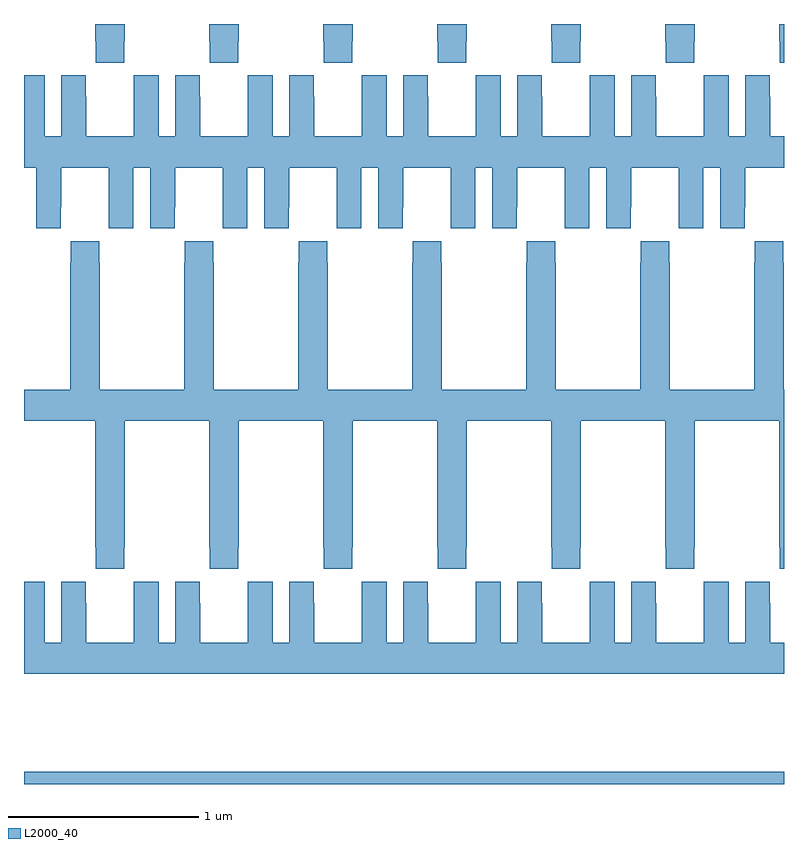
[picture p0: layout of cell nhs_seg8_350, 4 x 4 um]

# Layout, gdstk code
import gdstk
lib = gdstk.Library(unit=1e-6, precision=1e-09)
def R(c, l, rs):  # rectangles x0, y0, x1, y1
    for r in rs: c.add(gdstk.rectangle(r[:2], r[2:], *l))
def P(c, l, *ps):  # polygons
    for p in ps: c.add(gdstk.Polygon(p, *l))
L2000_40 = (2000, 40)

nhs_seg8_350 = lib.new_cell('nhs_seg8_350')
R(nhs_seg8_350, L2000_40, [(133,1135.9,137,1135.964)])
P(nhs_seg8_350, L2000_40, [(137,1139.9),(136.975,1139.9),(136.975,1139.809),(136.977,1139.809),(136.977,1139.697),(137,1139.697)],
  [(136.375,1139.809),(136.377,1139.809),(136.377,1139.697),(136.527,1139.697),(136.527,1139.809),(136.53,1139.809),(136.53,1139.9),(136.375,1139.9)],
  [(135.927,1139.809),(135.93,1139.809),(135.93,1139.9),(135.775,1139.9),(135.775,1139.809),(135.777,1139.809),(135.777,1139.697),(135.927,1139.697)],
  [(135.327,1139.809),(135.33,1139.809),(135.33,1139.9),(135.175,1139.9),(135.175,1139.809),(135.177,1139.809),(135.177,1139.697),(135.327,1139.697)],
  [(134.727,1139.809),(134.73,1139.809),(134.73,1139.9),(134.575,1139.9),(134.575,1139.809),(134.577,1139.809),(134.577,1139.697),(134.727,1139.697)],
  [(134.127,1139.809),(134.13,1139.809),(134.13,1139.9),(133.975,1139.9),(133.975,1139.809),(133.977,1139.809),(133.977,1139.697),(134.127,1139.697)],
  [(133.527,1139.809),(133.53,1139.809),(133.53,1139.9),(133.375,1139.9),(133.375,1139.809),(133.377,1139.809),(133.377,1139.697),(133.527,1139.697)],
  [(133.327,1139.516),(133.326,1139.516),(133.326,1139.629),(133.196,1139.629),(133.196,1139.308),(133.108,1139.308),(133.108,1139.629),(133,1139.629),(133,1139.144),(133.064,1139.144),(133.064,1138.824),(133.194,1138.824),(133.194,1138.936),(133.195,1138.936),(133.195,1139.144),(133.445,1139.144),(133.445,1138.936),(133.446,1138.936),(133.446,1138.824),(133.576,1138.824),(133.576,1139.144),(133.664,1139.144),(133.664,1138.824),(133.794,1138.824),(133.794,1138.936),(133.795,1138.936),(133.795,1139.144),(134.045,1139.144),(134.045,1138.936),(134.046,1138.936),(134.046,1138.824),(134.176,1138.824),(134.176,1139.144),(134.264,1139.144),(134.264,1138.824),(134.394,1138.824),(134.394,1138.936),(134.395,1138.936),(134.395,1139.144),(134.645,1139.144),(134.645,1138.936),(134.646,1138.936),(134.646,1138.824),(134.776,1138.824),(134.776,1139.144),(134.864,1139.144),(134.864,1138.824),(134.994,1138.824),(134.994,1138.936),(134.995,1138.936),(134.995,1139.144),(135.245,1139.144),(135.245,1138.936),(135.246,1138.936),(135.246,1138.824),(135.376,1138.824),(135.376,1139.144),(135.464,1139.144),(135.464,1138.824),(135.594,1138.824),(135.594,1138.936),(135.595,1138.936),(135.595,1139.144),(135.845,1139.144),(135.845,1138.936),(135.846,1138.936),(135.846,1138.824),(135.976,1138.824),(135.976,1139.144),(136.064,1139.144),(136.064,1138.824),(136.194,1138.824),(136.194,1138.936),(136.195,1138.936),(136.195,1139.144),(136.445,1139.144),(136.445,1138.936),(136.446,1138.936),(136.446,1138.824),(136.576,1138.824),(136.576,1139.144),(136.664,1139.144),(136.664,1138.824),(136.794,1138.824),(136.794,1138.936),(136.795,1138.936),(136.795,1139.144),(137,1139.144),(137,1139.308),(136.927,1139.308),(136.927,1139.516),(136.926,1139.516),(136.926,1139.629),(136.796,1139.629),(136.796,1139.308),(136.708,1139.308),(136.708,1139.629),(136.578,1139.629),(136.578,1139.516),(136.577,1139.516),(136.577,1139.308),(136.327,1139.308),(136.327,1139.516),(136.326,1139.516),(136.326,1139.629),(136.196,1139.629),(136.196,1139.308),(136.108,1139.308),(136.108,1139.629),(135.978,1139.629),(135.978,1139.516),(135.977,1139.516),(135.977,1139.308),(135.727,1139.308),(135.727,1139.516),(135.726,1139.516),(135.726,1139.629),(135.596,1139.629),(135.596,1139.308),(135.508,1139.308),(135.508,1139.629),(135.378,1139.629),(135.378,1139.516),(135.377,1139.516),(135.377,1139.308),(135.127,1139.308),(135.127,1139.516),(135.126,1139.516),(135.126,1139.629),(134.996,1139.629),(134.996,1139.308),(134.908,1139.308),(134.908,1139.629),(134.778,1139.629),(134.778,1139.516),(134.777,1139.516),(134.777,1139.308),(134.527,1139.308),(134.527,1139.516),(134.526,1139.516),(134.526,1139.629),(134.396,1139.629),(134.396,1139.308),(134.308,1139.308),(134.308,1139.629),(134.178,1139.629),(134.178,1139.516),(134.177,1139.516),(134.177,1139.308),(133.927,1139.308),(133.927,1139.516),(133.926,1139.516),(133.926,1139.629),(133.796,1139.629),(133.796,1139.308),(133.708,1139.308),(133.708,1139.629),(133.578,1139.629),(133.578,1139.516),(133.577,1139.516),(133.577,1139.308),(133.327,1139.308)],
  [(134.727,1137.145),(134.73,1137.145),(134.73,1137.812),(135.175,1137.812),(135.175,1137.145),(135.177,1137.145),(135.177,1137.033),(135.327,1137.033),(135.327,1137.145),(135.33,1137.145),(135.33,1137.812),(135.775,1137.812),(135.775,1137.145),(135.777,1137.145),(135.777,1137.033),(135.927,1137.033),(135.927,1137.145),(135.93,1137.145),(135.93,1137.812),(136.375,1137.812),(136.375,1137.145),(136.377,1137.145),(136.377,1137.033),(136.527,1137.033),(136.527,1137.145),(136.53,1137.145),(136.53,1137.812),(136.975,1137.812),(136.975,1137.145),(136.977,1137.145),(136.977,1137.033),(137,1137.033),(137,1137.976),(136.998,1137.976),(136.998,1138.643),(136.995,1138.643),(136.995,1138.756),(136.845,1138.756),(136.845,1138.643),(136.843,1138.643),(136.843,1137.976),(136.398,1137.976),(136.398,1138.643),(136.395,1138.643),(136.395,1138.756),(136.245,1138.756),(136.245,1138.643),(136.243,1138.643),(136.243,1137.976),(135.798,1137.976),(135.798,1138.643),(135.795,1138.643),(135.795,1138.756),(135.645,1138.756),(135.645,1138.643),(135.643,1138.643),(135.643,1137.976),(135.198,1137.976),(135.198,1138.643),(135.195,1138.643),(135.195,1138.756),(135.045,1138.756),(135.045,1138.643),(135.043,1138.643),(135.043,1137.976),(134.598,1137.976),(134.598,1138.643),(134.595,1138.643),(134.595,1138.756),(134.445,1138.756),(134.445,1138.643),(134.443,1138.643),(134.443,1137.976),(133.998,1137.976),(133.998,1138.643),(133.995,1138.643),(133.995,1138.756),(133.845,1138.756),(133.845,1138.643),(133.843,1138.643),(133.843,1137.976),(133.398,1137.976),(133.398,1138.643),(133.395,1138.643),(133.395,1138.756),(133.245,1138.756),(133.245,1138.643),(133.243,1138.643),(133.243,1137.976),(133,1137.976),(133,1137.812),(133.375,1137.812),(133.375,1137.145),(133.377,1137.145),(133.377,1137.033),(133.527,1137.033),(133.527,1137.145),(133.53,1137.145),(133.53,1137.812),(133.975,1137.812),(133.975,1137.145),(133.977,1137.145),(133.977,1137.033),(134.127,1137.033),(134.127,1137.145),(134.13,1137.145),(134.13,1137.812),(134.575,1137.812),(134.575,1137.145),(134.577,1137.145),(134.577,1137.033),(134.727,1137.033)],
  [(137,1136.644),(136.927,1136.644),(136.927,1136.852),(136.926,1136.852),(136.926,1136.965),(136.796,1136.965),(136.796,1136.644),(136.708,1136.644),(136.708,1136.965),(136.578,1136.965),(136.578,1136.852),(136.577,1136.852),(136.577,1136.644),(136.327,1136.644),(136.327,1136.852),(136.326,1136.852),(136.326,1136.965),(136.196,1136.965),(136.196,1136.644),(136.108,1136.644),(136.108,1136.965),(135.978,1136.965),(135.978,1136.852),(135.977,1136.852),(135.977,1136.644),(135.727,1136.644),(135.727,1136.852),(135.726,1136.852),(135.726,1136.965),(135.596,1136.965),(135.596,1136.644),(135.508,1136.644),(135.508,1136.965),(135.378,1136.965),(135.378,1136.852),(135.377,1136.852),(135.377,1136.644),(135.127,1136.644),(135.127,1136.852),(135.126,1136.852),(135.126,1136.965),(134.996,1136.965),(134.996,1136.644),(134.908,1136.644),(134.908,1136.965),(134.778,1136.965),(134.778,1136.852),(134.777,1136.852),(134.777,1136.644),(134.527,1136.644),(134.527,1136.852),(134.526,1136.852),(134.526,1136.965),(134.396,1136.965),(134.396,1136.644),(134.308,1136.644),(134.308,1136.965),(134.178,1136.965),(134.178,1136.852),(134.177,1136.852),(134.177,1136.644),(133.927,1136.644),(133.927,1136.852),(133.926,1136.852),(133.926,1136.965),(133.796,1136.965),(133.796,1136.644),(133.708,1136.644),(133.708,1136.965),(133.578,1136.965),(133.578,1136.852),(133.577,1136.852),(133.577,1136.644),(133.327,1136.644),(133.327,1136.852),(133.326,1136.852),(133.326,1136.965),(133.196,1136.965),(133.196,1136.644),(133.108,1136.644),(133.108,1136.965),(133,1136.965),(133,1136.48),(137,1136.48)])

lib.write_gds('nhs_seg8_350.gds')
